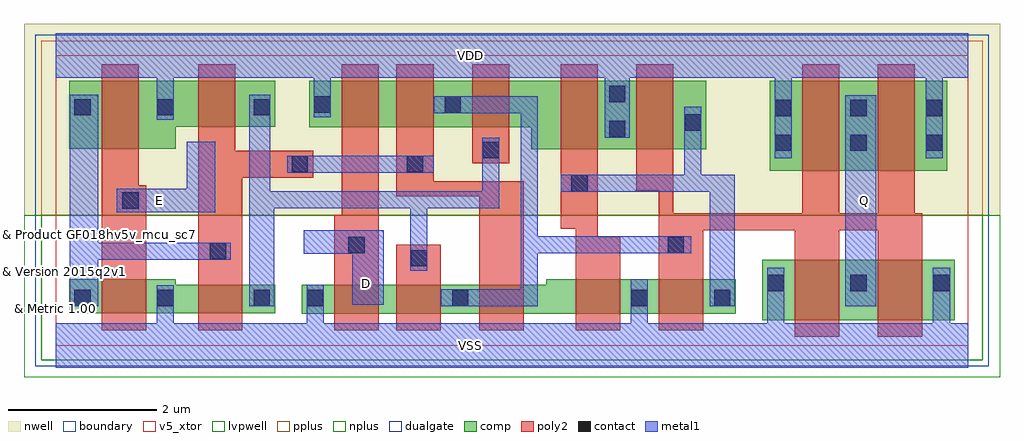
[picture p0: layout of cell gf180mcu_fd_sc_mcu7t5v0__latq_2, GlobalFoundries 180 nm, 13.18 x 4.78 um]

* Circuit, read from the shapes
.subckt gf180mcu_fd_sc_mcu7t5v0__latq_2 D E Q VDD VSS
XM1 VSS E n1 VSUBS nfet_05v0 w=0.46u l=0.6u
XM2 n2 n1 VSS VSUBS nfet_05v0 w=0.39u l=0.6u
XM3 n3 D VSS VSUBS nfet_05v0 w=0.395u l=0.6u
XM4 n4 n2 n3 VSUBS nfet_05v0 w=0.395u l=0.6u
XM5 n5 n1 n4 VSUBS nfet_05v0 w=0.395u l=0.6u
XM6 VSS n6 n5 VSUBS nfet_05v0 w=0.465u l=0.6u
XM7 n6 n4 VSS VSUBS nfet_05v0 w=0.465u l=0.6u
XM8 Q n4 VSS VSUBS nfet_05v0 w=0.82u l=0.6u m=2
XM9 VDD E n1 n7 pfet_05v0 w=0.92u l=0.5u
XM10 n2 n1 VDD n7 pfet_05v0 w=0.625u l=0.5u
XM11 n8 D VDD n7 pfet_05v0 w=0.63u l=0.5u
XM12 n4 n1 n8 n7 pfet_05v0 w=0.63u l=0.5u
XM13 n9 n2 n4 n7 pfet_05v0 w=0.63u l=0.5u
XM14 VDD n6 n9 n7 pfet_05v0 w=0.925u l=0.5u
XM15 n6 n4 VDD n7 pfet_05v0 w=0.925u l=0.5u
XM16 Q n4 VDD n7 pfet_05v0 w=1.22u l=0.5u m=2
.ends

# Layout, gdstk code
import gdstk
lib = gdstk.Library(unit=1e-6, precision=1e-09)
def R(c, l, rs):  # rectangles x0, y0, x1, y1
    for r in rs: c.add(gdstk.rectangle(r[:2], r[2:], *l))
def A(c, l, x, y, w, h, nx, ny, dx, dy):  # array of equal rectangles
    R(c, l, [(x+i*dx, y+j*dy, x+i*dx+w, y+j*dy+h) for i in range(nx) for j in range(ny)])
def P(c, l, *ps):  # polygons
    for p in ps: c.add(gdstk.Polygon(p, *l))
boundary = (0, 0)
nwell = (21, 0)
comp = (22, 0)
poly2 = (30, 0)
pplus = (31, 0)
nplus = (32, 0)
contact = (33, 0)
metal1 = (34, 0)
dualgate = (55, 0)
v5_xtor = (112, 1)
lvpwell = (204, 0)

gf180mcu_fd_sc_mcu7t5v0_ = lib.new_cell('gf180mcu_fd_sc_mcu7t5v0__latq_2')
R(gf180mcu_fd_sc_mcu7t5v0_, boundary, [(0,0,12.32,3.92)])
R(gf180mcu_fd_sc_mcu7t5v0_, nwell, [(-0.43,1.76,12.75,4.35)])
R(gf180mcu_fd_sc_mcu7t5v0_, comp, [(9.54,0.34,12.14,1.16), (9.64,2.36,12.04,3.58)])
P(gf180mcu_fd_sc_mcu7t5v0_, comp, [(0.18,0.435),(0.18,0.895),(1.62,0.895),(1.62,0.825),(2.96,0.825),(2.96,0.435)],
  [(0.18,2.66),(0.18,3.58),(2.96,3.58),(2.96,2.955),(1.62,2.955),(1.62,2.66)],
  [(6.42,2.655),(6.42,2.95),(3.42,2.95),(3.42,3.58),(8.78,3.58),(8.78,2.655)],
  [(3.32,0.43),(3.32,0.825),(6.62,0.825),(6.62,0.895),(9.18,0.895),(9.18,0.43)])
R(gf180mcu_fd_sc_mcu7t5v0_, poly2, [(4.6,0.21,5.2,1.36), (5.62,2.46,6.12,3.8)])
P(gf180mcu_fd_sc_mcu7t5v0_, poly2, [(0.62,0.21),(0.62,3.8),(1.12,3.8),(1.12,2.165),(1.22,2.165),(1.22,0.21)],
  [(1.92,0.21),(1.92,3.8),(2.42,3.8),(2.42,2.63),(3.475,2.63),(3.475,2.27),(2.52,2.27),(2.52,0.21)],
  [(3.76,0.21),(3.76,1.76),(3.86,1.76),(3.86,3.8),(4.36,3.8),(4.36,0.21)],
  [(5.72,0.21),(5.72,2.02),(4.6,2.02),(4.6,3.8),(5.1,3.8),(5.1,2.22),(6.32,2.22),(6.32,0.21)],
  [(7.02,0.21),(7.02,1.58),(6.82,1.58),(6.82,3.8),(7.32,3.8),(7.32,1.47),(7.62,1.47),(7.62,0.21)],
  [(9.98,0.12),(9.98,1.555),(8.74,1.555),(8.74,0.21),(8.14,0.21),(8.14,2.095),(7.84,2.095),(7.84,3.8),(8.34,3.8),(8.34,1.785),(10.08,1.785),(10.08,3.8),(10.58,3.8),(10.58,1.785),(11.1,1.785),(11.1,3.8),(11.6,3.8),(11.6,1.785),(11.7,1.785),(11.7,0.12),(11.1,0.12),(11.1,1.555),(10.58,1.555),(10.58,0.12)])
R(gf180mcu_fd_sc_mcu7t5v0_, pplus, [(-0.2,1.76,12.52,4.12)])
R(gf180mcu_fd_sc_mcu7t5v0_, nplus, [(-0.2,-0.2,12.52,1.76)])
A(gf180mcu_fd_sc_mcu7t5v0_, contact, 9.61, 0.735, 0.22, 0.22, 3, 1, 1.12, 0)
A(gf180mcu_fd_sc_mcu7t5v0_, contact, 9.71, 2.63, 0.22, 0.22, 3, 2, 1.02, 0.47)
R(gf180mcu_fd_sc_mcu7t5v0_, contact, [(0.25,0.535,0.47,0.755), (1.37,0.535,1.59,0.755), (2.67,0.535,2.89,0.755), (3.39,0.535,3.61,0.755), (5.35,0.535,5.57,0.755), (7.77,0.535,7.99,0.755), (8.89,0.535,9.11,0.755), (4.79,1.07,5.01,1.29), (2.08,1.165,2.3,1.385), (3.95,1.25,4.17,1.47), (8.26,1.25,8.48,1.47), (0.9,1.85,1.12,2.07), (6.96,2.08,7.18,2.3), (3.185,2.34,3.405,2.56), (4.74,2.34,4.96,2.56), (5.76,2.53,5.98,2.75), (7.47,2.82,7.69,3.04), (8.49,2.905,8.71,3.125), (0.25,3.11,0.47,3.33), (1.37,3.11,1.59,3.33), (2.67,3.11,2.89,3.33), (3.49,3.145,3.71,3.365), (5.25,3.145,5.47,3.365), (7.47,3.29,7.69,3.51)])
R(gf180mcu_fd_sc_mcu7t5v0_, metal1, [(10.66,0.53,11.08,3.38), (3.125,2.335,5.1,2.565)])
P(gf180mcu_fd_sc_mcu7t5v0_, metal1, [(0.825,1.8),(0.825,2.12),(1.77,2.12),(1.77,2.75),(2.15,2.75),(2.15,1.8)],
  [(0.19,0.53),(0.19,3.39),(0.575,3.39),(0.575,1.39),(2.36,1.39),(2.36,1.16),(0.575,1.16),(0.575,0.53)],
  [(4,0.55),(4,1.24),(3.35,1.24),(3.35,1.56),(4.43,1.56),(4.43,0.55)],
  [(2.61,0.53),(2.61,3.39),(2.895,3.39),(2.895,2.085),(5.755,2.085),(5.755,2.81),(5.985,2.81),(5.985,1.855),(5.015,1.855),(5.015,1.01),(4.785,1.01),(4.785,1.855),(2.95,1.855),(2.95,0.53)],
  [(5.2,0.53),(5.2,0.76),(6.275,0.76),(6.275,3.14),(5.1,3.14),(5.1,3.37),(6.505,3.37),(6.505,1.475),(8.58,1.475),(8.58,1.245),(6.505,1.245),(6.505,0.53)],
  [(8.83,0.53),(8.83,2.075),(6.82,2.075),(6.82,2.305),(8.485,2.305),(8.485,3.225),(8.715,3.225),(8.715,2.305),(9.17,2.305),(9.17,0.53)],
  [(0,-0.3),(0,0.3),(1.365,0.3),(1.365,0.815),(1.595,0.815),(1.595,0.3),(3.385,0.3),(3.385,0.825),(3.615,0.825),(3.615,0.3),(7.765,0.3),(7.765,0.895),(7.995,0.895),(7.995,0.3),(9.605,0.3),(9.605,1.055),(9.835,1.055),(9.835,0.3),(11.845,0.3),(11.845,1.055),(12.075,1.055),(12.075,0.3),(12.32,0.3),(12.32,-0.3)],
  [(9.705,2.53),(9.705,3.62),(7.75,3.62),(7.75,2.805),(7.41,2.805),(7.41,3.62),(3.715,3.62),(3.715,3.085),(3.485,3.085),(3.485,3.62),(1.595,3.62),(1.595,3.05),(1.365,3.05),(1.365,3.62),(0,3.62),(0,4.22),(12.32,4.22),(12.32,3.62),(11.975,3.62),(11.975,2.53),(11.745,2.53),(11.745,3.62),(9.935,3.62),(9.935,2.53)])
R(gf180mcu_fd_sc_mcu7t5v0_, dualgate, [(-0.28,-0.28,12.6,4.2)])
R(gf180mcu_fd_sc_mcu7t5v0_, v5_xtor, [(0,0,12.32,3.92)])
R(gf180mcu_fd_sc_mcu7t5v0_, lvpwell, [(-0.43,-0.43,12.75,1.76)])
gf180mcu_fd_sc_mcu7t5v0_.add(gdstk.Label('Q', (10.92,1.96), layer=34, texttype=10))
gf180mcu_fd_sc_mcu7t5v0_.add(gdstk.Label('VDD', (5.6,3.92), layer=34, texttype=10))
gf180mcu_fd_sc_mcu7t5v0_.add(gdstk.Label('VSS', (5.6,0), layer=34, texttype=10))
gf180mcu_fd_sc_mcu7t5v0_.add(gdstk.Label('D', (4.2,0.84), layer=34, texttype=10))
gf180mcu_fd_sc_mcu7t5v0_.add(gdstk.Label('E', (1.4,1.96), layer=34, texttype=10))
gf180mcu_fd_sc_mcu7t5v0_.add(gdstk.Label('& Vendor GLOBALFOUNDRIES', (0,2), layer=63, texttype=63))
gf180mcu_fd_sc_mcu7t5v0_.add(gdstk.Label('& Product GF018hv5v_mcu_sc7', (0,1.5), layer=63, texttype=63))
gf180mcu_fd_sc_mcu7t5v0_.add(gdstk.Label('& Version 2015q2v1', (0,1), layer=63, texttype=63))
gf180mcu_fd_sc_mcu7t5v0_.add(gdstk.Label('& Metric 1.00', (0,0.5), layer=63, texttype=63))

lib.write_gds('gf180mcu_fd_sc_mcu7t5v0__latq_2.gds')
